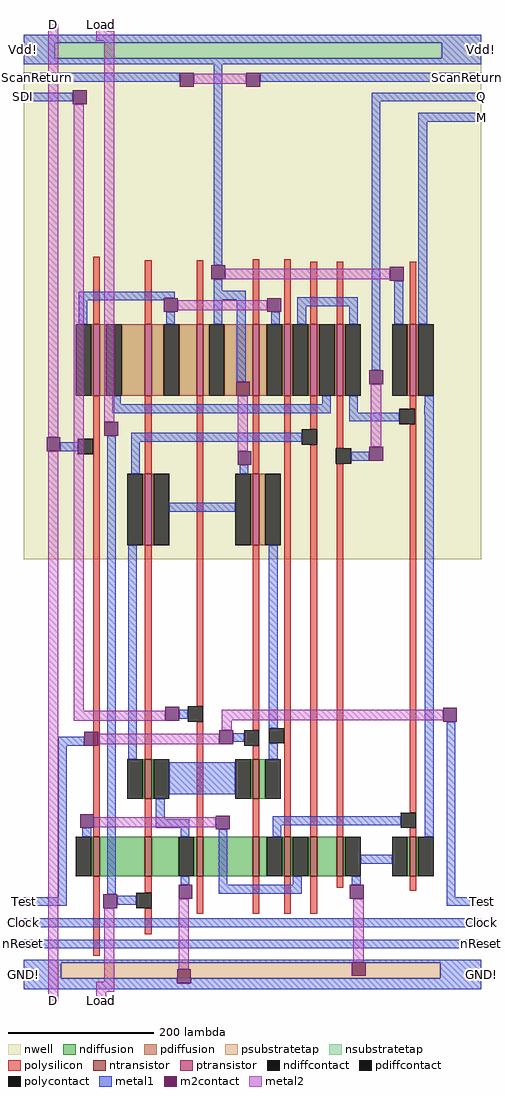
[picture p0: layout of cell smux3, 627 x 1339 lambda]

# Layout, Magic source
magic
tech tsmc180
<< nwell >>
rect 0 605 627 1324
<< polysilicon >>
rect 95 927 104 1020
rect 166 927 175 1015
rect 237 927 246 1015
rect 314 927 323 1016
rect 357 927 366 1016
rect 393 927 402 1013
rect 429 927 438 1013
rect 529 927 538 1013
rect 95 224 104 829
rect 166 722 175 829
rect 166 330 175 624
rect 237 403 246 829
rect 314 722 323 829
rect 166 224 175 276
rect 237 224 246 382
rect 314 370 323 624
rect 314 330 323 349
rect 314 224 323 276
rect 357 224 366 829
rect 393 783 402 829
rect 393 224 402 762
rect 429 757 438 829
rect 529 811 538 829
rect 536 790 538 811
rect 429 224 438 736
rect 529 257 538 790
rect 529 224 538 236
rect 95 61 104 170
rect 166 147 175 170
rect 166 90 175 126
rect 237 118 246 170
rect 314 118 323 170
rect 357 118 366 170
rect 393 118 402 170
rect 429 154 438 170
rect 529 150 538 170
<< ndiffusion >>
rect 163 276 166 330
rect 175 276 178 330
rect 311 276 314 330
rect 323 276 331 330
rect 92 170 95 224
rect 104 170 166 224
rect 175 170 212 224
rect 233 170 237 224
rect 246 170 314 224
rect 323 170 333 224
rect 354 170 357 224
rect 366 170 369 224
rect 390 170 393 224
rect 402 170 429 224
rect 438 170 441 224
rect 526 170 529 224
rect 538 170 541 224
<< pdiffusion >>
rect 92 829 95 927
rect 104 829 113 927
rect 134 829 166 927
rect 175 829 192 927
rect 213 829 237 927
rect 246 829 254 927
rect 275 829 314 927
rect 323 829 333 927
rect 354 829 357 927
rect 366 829 369 927
rect 390 829 393 927
rect 402 829 405 927
rect 426 829 429 927
rect 438 829 441 927
rect 526 829 529 927
rect 538 829 541 927
rect 163 624 166 722
rect 175 624 178 722
rect 311 624 314 722
rect 323 624 331 722
<< ntransistor >>
rect 166 276 175 330
rect 314 276 323 330
rect 95 170 104 224
rect 166 170 175 224
rect 237 170 246 224
rect 314 170 323 224
rect 357 170 366 224
rect 393 170 402 224
rect 429 170 438 224
rect 529 170 538 224
<< ptransistor >>
rect 95 829 104 927
rect 166 829 175 927
rect 237 829 246 927
rect 314 829 323 927
rect 357 829 366 927
rect 393 829 402 927
rect 429 829 438 927
rect 529 829 538 927
rect 166 624 175 722
rect 314 624 323 722
<< polycontact >>
rect 74 749 95 770
rect 225 382 246 403
rect 302 349 323 370
rect 336 352 357 373
rect 381 762 402 783
rect 515 790 536 811
rect 428 736 449 757
rect 517 236 538 257
rect 154 126 175 147
<< ndiffcontact >>
rect 142 276 163 330
rect 178 276 199 330
rect 290 276 311 330
rect 331 276 352 330
rect 71 170 92 224
rect 212 170 233 224
rect 333 170 354 224
rect 369 170 390 224
rect 441 170 462 224
rect 505 170 526 224
rect 541 170 562 224
<< pdiffcontact >>
rect 71 829 92 927
rect 113 829 134 927
rect 192 829 213 927
rect 254 829 275 927
rect 333 829 354 927
rect 369 829 390 927
rect 405 829 426 927
rect 441 829 462 927
rect 505 829 526 927
rect 541 829 562 927
rect 142 624 163 722
rect 178 624 199 722
rect 290 624 311 722
rect 331 624 352 722
<< psubstratetap >>
rect 51 30 571 51
<< nsubstratetap >>
rect 42 1292 573 1313
<< metal1 >>
rect 0 1313 627 1324
rect 0 1292 42 1313
rect 573 1292 627 1313
rect 0 1284 627 1292
rect 0 1260 214 1272
rect 0 1233 67 1245
rect 260 1008 272 1284
rect 324 1260 627 1272
rect 477 1233 627 1245
rect 260 973 272 989
rect 75 963 207 972
rect 75 960 192 963
rect 75 927 87 960
rect 260 961 304 973
rect 195 927 207 944
rect 260 927 272 961
rect 292 848 304 961
rect 375 952 458 964
rect 339 927 351 944
rect 375 927 387 952
rect 446 927 458 952
rect 477 864 489 1233
rect 541 1205 627 1217
rect 508 927 520 987
rect 541 927 553 1205
rect 121 817 133 829
rect 409 817 421 829
rect 121 805 421 817
rect 446 806 458 829
rect 550 815 562 829
rect 446 794 515 806
rect 549 803 562 815
rect 50 753 74 765
rect 47 349 83 361
rect 47 141 59 349
rect 80 224 92 236
rect 114 145 126 774
rect 147 766 381 778
rect 147 722 159 766
rect 449 740 474 752
rect 296 722 308 734
rect 199 670 290 682
rect 143 330 155 624
rect 213 386 225 398
rect 336 373 348 624
rect 287 354 302 366
rect 336 330 348 352
rect 199 282 290 326
rect 181 248 193 276
rect 181 236 227 248
rect 215 224 227 236
rect 341 240 517 252
rect 215 158 227 170
rect 267 158 279 234
rect 341 224 353 240
rect 550 224 562 803
rect 462 187 505 199
rect 369 158 381 170
rect 450 158 462 170
rect 0 129 59 141
rect 128 131 154 143
rect 267 146 381 158
rect 580 141 592 382
rect 580 129 627 141
rect 0 100 627 112
rect 0 71 627 83
rect 0 52 627 55
rect 0 51 450 52
rect 469 51 627 52
rect 0 30 51 51
rect 571 30 627 51
rect 0 23 210 30
rect 229 23 627 30
rect 0 15 627 23
<< m2contact >>
rect 214 1253 233 1272
rect 67 1229 86 1248
rect 305 1253 324 1272
rect 257 989 276 1008
rect 192 944 211 963
rect 334 944 353 963
rect 291 829 310 848
rect 502 987 521 1006
rect 474 845 493 864
rect 110 774 129 793
rect 31 753 50 772
rect 83 349 102 368
rect 77 236 96 255
rect 293 734 312 753
rect 474 740 493 759
rect 194 383 213 402
rect 268 351 287 370
rect 263 234 282 253
rect 575 382 594 401
rect 109 126 128 145
rect 212 139 231 158
rect 447 139 466 158
rect 450 51 469 52
rect 210 30 229 42
rect 450 33 469 51
rect 210 23 229 30
<< metal2 >>
rect 33 772 47 1339
rect 99 1330 113 1339
rect 99 1316 124 1330
rect 33 0 47 753
rect 68 397 82 1229
rect 110 793 124 1316
rect 233 1257 305 1271
rect 276 989 502 1003
rect 211 946 334 960
rect 293 753 307 829
rect 476 759 490 845
rect 68 383 194 397
rect 271 384 575 398
rect 271 370 285 384
rect 102 351 268 365
rect 96 237 263 251
rect 110 25 124 126
rect 212 42 226 139
rect 452 52 466 139
rect 99 11 124 25
rect 99 0 113 11
<< labels >>
rlabel metal1 0 71 0 83 3 nReset
rlabel metal1 0 100 0 112 3 Clock
rlabel metal1 0 129 0 141 3 Test
rlabel metal2 33 0 47 0 1 D
rlabel metal2 99 0 113 0 1 Load
rlabel metal1 0 1260 0 1272 3 ScanReturn
rlabel metal1 0 1233 0 1245 3 SDI
rlabel metal1 627 1205 627 1217 7 M
rlabel metal1 627 1233 627 1245 7 Q
rlabel metal1 627 1260 627 1272 7 ScanReturn
rlabel metal1 627 129 627 141 7 Test
rlabel metal1 627 100 627 112 7 Clock
rlabel metal1 627 71 627 83 7 nReset
rlabel metal2 99 1339 113 1339 5 Load
rlabel metal2 33 1339 47 1339 5 D
rlabel metal1 0 1284 0 1324 3 Vdd!
rlabel metal1 627 1284 627 1324 7 Vdd!
rlabel metal1 0 15 0 55 3 GND!
rlabel metal1 627 15 627 55 7 GND!
<< end >>
